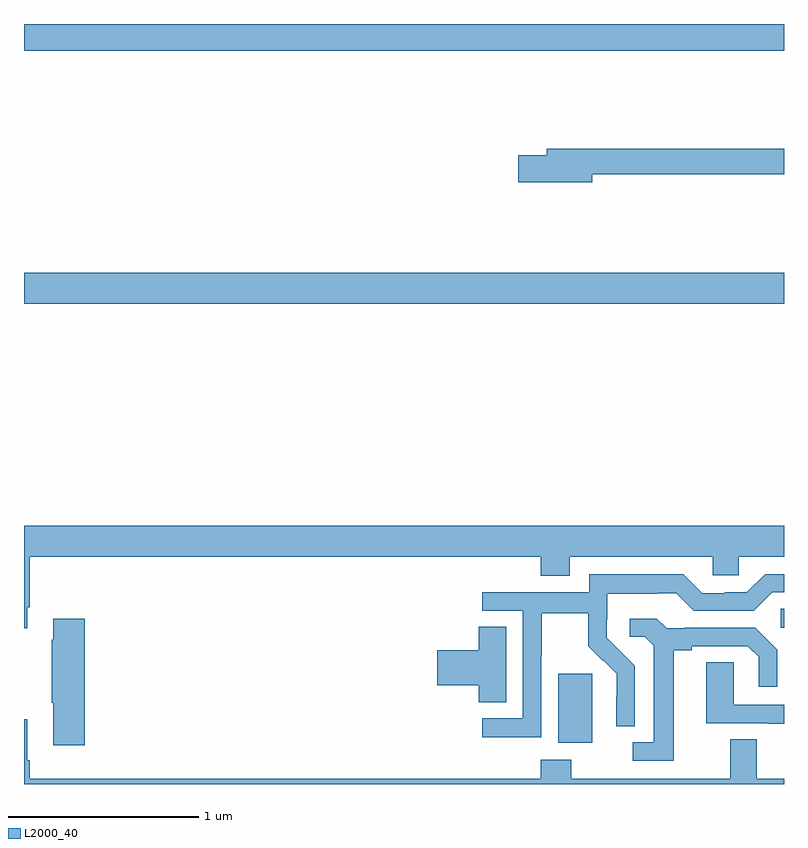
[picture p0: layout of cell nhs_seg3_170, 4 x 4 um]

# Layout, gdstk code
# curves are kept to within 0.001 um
import gdstk
lib = gdstk.Library(unit=1e-6, precision=1e-09)
def R(c, l, rs):  # rectangles x0, y0, x1, y1
    for r in rs: c.add(gdstk.rectangle(r[:2], r[2:], *l))
def P(c, l, *ps):  # polygons
    for p in ps: c.add(gdstk.Polygon(p, *l))
L2000_40 = (2000, 40)

nhs_seg3_170 = lib.new_cell('nhs_seg3_170')
R(nhs_seg3_170, L2000_40, [(121.811,686.618,121.99,686.979), (122.982,687.222,123,687.323), (119,688.928,123,689.092), (119,690.26,123,690.4)])
P(nhs_seg3_170, L2000_40, [(121.99,689.608),(123,689.608),(123,689.744),(121.751,689.744),(121.751,689.708),(121.602,689.708),(121.602,689.566),(121.99,689.566)],
  [(119.017,687.331),(119.03,687.331),(119.03,687.596),(121.721,687.596),(121.721,687.497),(121.873,687.497),(121.873,687.596),(122.625,687.596),(122.625,687.498),(122.763,687.498),(122.763,687.596),(123,687.596),(123,687.76),(119,687.76),(119,687.219),(119.017,687.219)],
  [(121.722,687.076),(121.725,687.076),(121.725,687.3),(121.969,687.3),(121.969,687.125),(122.046,687.048),(122.049,687.051),(122.12,686.981),(122.12,686.858),(122.118,686.858),(122.118,686.704),(122.214,686.704),(122.214,687.022),(122.068,687.17),(122.068,687.267),(122.07,687.267),(122.07,687.401),(122.333,687.401),(122.333,687.405),(122.433,687.405),(122.526,687.312),(122.841,687.312),(122.937,687.408),(123,687.408),(123,687.504),(122.901,687.504),(122.805,687.408),(122.687,687.408),(122.687,687.405),(122.571,687.405),(122.471,687.505),(121.974,687.505),(121.974,687.408),(121.413,687.408),(121.413,687.312),(121.626,687.312),(121.626,686.745),(121.413,686.745),(121.413,686.647),(121.722,686.647)],
  [(122.419,687.104),(122.515,687.104),(122.515,687.126),(122.81,687.126),(122.867,687.069),(122.867,686.913),(122.964,686.913),(122.964,687.106),(122.848,687.222),(122.476,687.222),(122.476,687.219),(122.382,687.219),(122.33,687.271),(122.187,687.271),(122.187,687.174),(122.268,687.174),(122.315,687.127),(122.315,686.619),(122.205,686.619),(122.205,686.523),(122.419,686.523)],
  [(119.321,687.271),(119.153,687.271),(119.153,687.158),(119.146,687.158),(119.146,686.827),(119.153,686.827),(119.153,686.604),(119.321,686.604)],
  [(121.537,687.227),(121.394,687.227),(121.394,687.104),(121.176,687.104),(121.176,686.921),(121.394,686.921),(121.394,686.83),(121.537,686.83)],
  [(123,686.817),(122.736,686.817),(122.736,687.041),(122.591,687.041),(122.591,686.721),(122.915,686.721),(122.915,686.717),(123,686.717)],
  [(123,686.428),(122.857,686.428),(122.857,686.636),(122.717,686.636),(122.717,686.428),(121.881,686.428),(121.881,686.527),(121.721,686.527),(121.721,686.428),(119.03,686.428),(119.03,686.524),(119.017,686.524),(119.017,686.74),(119,686.74),(119,686.4),(123,686.4)])

lib.write_gds('nhs_seg3_170.gds')
